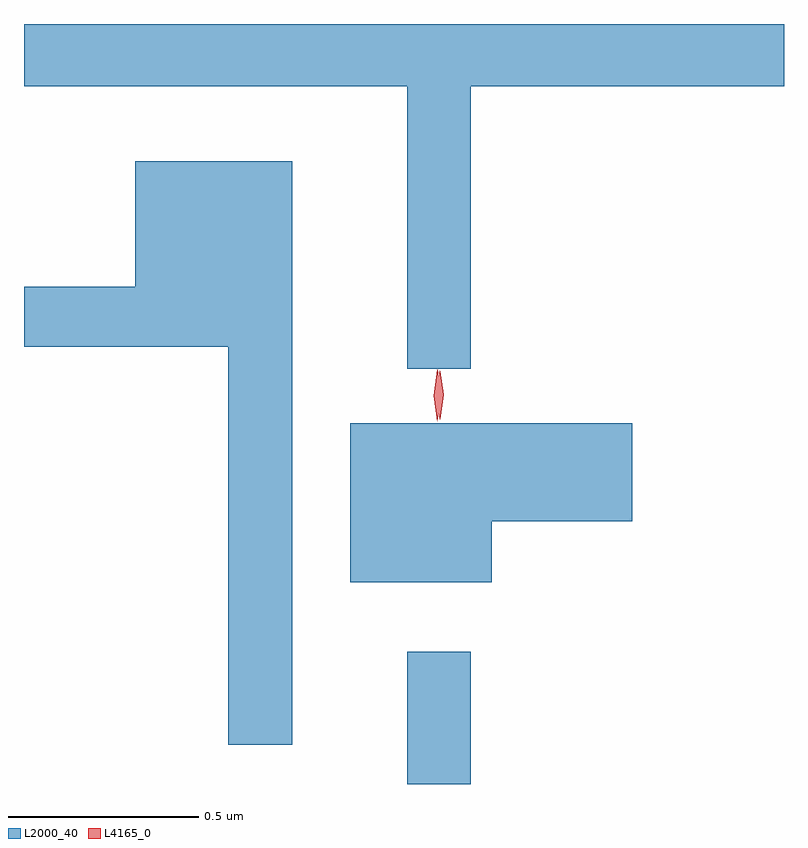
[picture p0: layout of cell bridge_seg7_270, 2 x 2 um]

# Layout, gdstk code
import gdstk
lib = gdstk.Library(unit=1e-6, precision=1e-09)
def R(c, l, rs):  # rectangles x0, y0, x1, y1
    for r in rs: c.add(gdstk.rectangle(r[:2], r[2:], *l))
def P(c, l, *ps):  # polygons
    for p in ps: c.add(gdstk.Polygon(p, *l))
L2000_40 = (2000, 40)
L4165_0 = (4165, 0)

bridge_seg7_270 = lib.new_cell('bridge_seg7_270')
R(bridge_seg7_270, L2000_40, [(1379.661,1774.64,1379.829,1774.988)])
P(bridge_seg7_270, L2000_40, [(1379.829,1776.476),(1380.653,1776.476),(1380.653,1776.64),(1378.653,1776.64),(1378.653,1776.476),(1379.661,1776.476),(1379.661,1775.733),(1379.829,1775.733)],
  [(1379.359,1776.279),(1378.946,1776.279),(1378.946,1775.949),(1378.653,1775.949),(1378.653,1775.791),(1379.191,1775.791),(1379.191,1774.743),(1379.359,1774.743)],
  [(1379.884,1775.331),(1380.254,1775.331),(1380.254,1775.589),(1379.511,1775.589),(1379.511,1775.171),(1379.884,1775.171)])
P(bridge_seg7_270, L4165_0, [(1379.74,1775.594),(1379.74,1775.594),(1379.731,1775.662),(1379.741,1775.73),(1379.742,1775.73),(1379.742,1775.73),(1379.751,1775.662),(1379.741,1775.594)],
  [(1379.747,1775.6),(1379.747,1775.6),(1379.737,1775.664),(1379.747,1775.726),(1379.747,1775.727),(1379.748,1775.726),(1379.757,1775.664),(1379.748,1775.6)])

lib.write_gds('bridge_seg7_270.gds')
